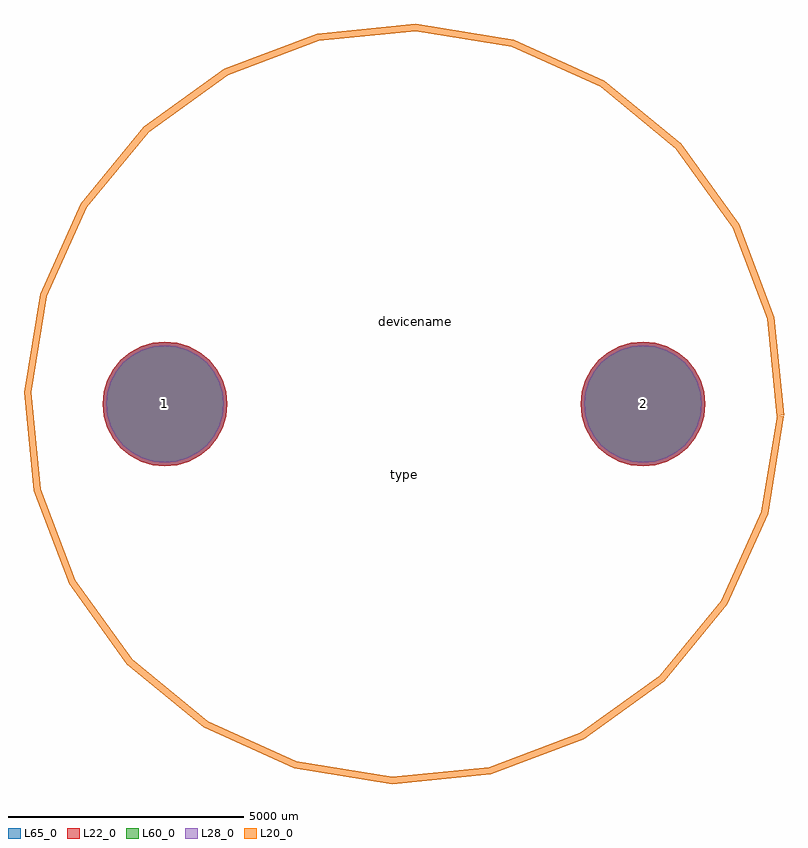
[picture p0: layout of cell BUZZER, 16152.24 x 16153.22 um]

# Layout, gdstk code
import gdstk
lib = gdstk.Library(unit=1e-6, precision=1e-09)
def P(c, l, *ps):  # polygons
    for p in ps: c.add(gdstk.Polygon(p, *l))
L20_0 = (20, 0)
L22_0 = (22, 0)
L28_0 = (28, 0)
L60_0 = (60, 0)
L65_0 = (65, 0)

buzzer = lib.new_cell('BUZZER')
P(buzzer, L22_0, [(-3755.32,0),(-3780.773,258.432),(-3856.155,506.933),(-3978.569,735.953),(-4143.31,936.69),(-4344.047,1101.431),(-4573.067,1223.845),(-4821.568,1299.227),(-5080,1324.68),(-5338.432,1299.227),(-5586.933,1223.845),(-5815.953,1101.431),(-6016.69,936.69),(-6181.431,735.953),(-6303.845,506.933),(-6379.227,258.432),(-6404.68,0),(-6379.227,-258.432),(-6303.845,-506.933),(-6181.431,-735.953),(-6016.69,-936.69),(-5815.953,-1101.431),(-5586.933,-1223.845),(-5338.432,-1299.227),(-5080,-1324.68),(-4821.568,-1299.227),(-4573.067,-1223.845),(-4344.047,-1101.431),(-4143.31,-936.69),(-3978.569,-735.953),(-3856.155,-506.933),(-3780.773,-258.432)],
  [(6404.68,0),(6379.227,258.432),(6303.845,506.933),(6181.431,735.953),(6016.69,936.69),(5815.953,1101.431),(5586.933,1223.845),(5338.432,1299.227),(5080,1324.68),(4821.568,1299.227),(4573.067,1223.845),(4344.047,1101.431),(4143.31,936.69),(3978.569,735.953),(3856.155,506.933),(3780.773,258.432),(3755.32,0),(3780.773,-258.432),(3856.155,-506.933),(3978.569,-735.953),(4143.31,-936.69),(4344.047,-1101.431),(4573.067,-1223.845),(4821.568,-1299.227),(5080,-1324.68),(5338.432,-1299.227),(5586.933,-1223.845),(5815.953,-1101.431),(6016.69,-936.69),(6181.431,-735.953),(6303.845,-506.933),(6379.227,-258.432)])
P(buzzer, L28_0, [(-3830.32,0),(-3854.332,243.8),(-3925.446,478.232),(-4040.929,694.285),(-4196.343,883.657),(-4385.715,1039.071),(-4601.768,1154.554),(-4836.2,1225.668),(-5080,1249.68),(-5323.8,1225.668),(-5558.232,1154.554),(-5774.285,1039.071),(-5963.657,883.657),(-6119.071,694.285),(-6234.554,478.232),(-6305.668,243.8),(-6329.68,0),(-6305.668,-243.8),(-6234.554,-478.232),(-6119.071,-694.285),(-5963.657,-883.657),(-5774.285,-1039.071),(-5558.232,-1154.554),(-5323.8,-1225.668),(-5080,-1249.68),(-4836.2,-1225.668),(-4601.768,-1154.554),(-4385.715,-1039.071),(-4196.343,-883.657),(-4040.929,-694.285),(-3925.446,-478.232),(-3854.332,-243.8)],
  [(6329.68,0),(6305.668,243.8),(6234.554,478.232),(6119.071,694.285),(5963.657,883.657),(5774.285,1039.071),(5558.232,1154.554),(5323.8,1225.668),(5080,1249.68),(4836.2,1225.668),(4601.768,1154.554),(4385.715,1039.071),(4196.343,883.657),(4040.929,694.285),(3925.446,478.232),(3854.332,243.8),(3830.32,0),(3854.332,-243.8),(3925.446,-478.232),(4040.929,-694.285),(4196.343,-883.657),(4385.715,-1039.071),(4601.768,-1154.554),(4836.2,-1225.668),(5080,-1249.68),(5323.8,-1225.668),(5558.232,-1154.554),(5774.285,-1039.071),(5963.657,-883.657),(6119.071,-694.285),(6234.554,-478.232),(6305.668,-243.8)])
P(buzzer, L60_0, [(-3830.32,0),(-3854.332,243.8),(-3925.446,478.232),(-4040.929,694.285),(-4196.343,883.657),(-4385.715,1039.071),(-4601.768,1154.554),(-4836.2,1225.668),(-5080,1249.68),(-5323.8,1225.668),(-5558.232,1154.554),(-5774.285,1039.071),(-5963.657,883.657),(-6119.071,694.285),(-6234.554,478.232),(-6305.668,243.8),(-6329.68,0),(-6305.668,-243.8),(-6234.554,-478.232),(-6119.071,-694.285),(-5963.657,-883.657),(-5774.285,-1039.071),(-5558.232,-1154.554),(-5323.8,-1225.668),(-5080,-1249.68),(-4836.2,-1225.668),(-4601.768,-1154.554),(-4385.715,-1039.071),(-4196.343,-883.657),(-4040.929,-694.285),(-3925.446,-478.232),(-3854.332,-243.8)],
  [(6329.68,0),(6305.668,243.8),(6234.554,478.232),(6119.071,694.285),(5963.657,883.657),(5774.285,1039.071),(5558.232,1154.554),(5323.8,1225.668),(5080,1249.68),(4836.2,1225.668),(4601.768,1154.554),(4385.715,1039.071),(4196.343,883.657),(4040.929,694.285),(3925.446,478.232),(3854.332,243.8),(3830.32,0),(3854.332,-243.8),(3925.446,-478.232),(4040.929,-694.285),(4196.343,-883.657),(4385.715,-1039.071),(4601.768,-1154.554),(4836.2,-1225.668),(5080,-1249.68),(5323.8,-1225.668),(5558.232,-1154.554),(5774.285,-1039.071),(5963.657,-883.657),(6119.071,-694.285),(6234.554,-478.232),(6305.668,-243.8)])
P(buzzer, L65_0, [(-3755.32,0),(-3780.773,258.432),(-3856.155,506.933),(-3978.569,735.953),(-4143.31,936.69),(-4344.047,1101.431),(-4573.067,1223.845),(-4821.568,1299.227),(-5080,1324.68),(-5338.432,1299.227),(-5586.933,1223.845),(-5815.953,1101.431),(-6016.69,936.69),(-6181.431,735.953),(-6303.845,506.933),(-6379.227,258.432),(-6404.68,0),(-6379.227,-258.432),(-6303.845,-506.933),(-6181.431,-735.953),(-6016.69,-936.69),(-5815.953,-1101.431),(-5586.933,-1223.845),(-5338.432,-1299.227),(-5080,-1324.68),(-4821.568,-1299.227),(-4573.067,-1223.845),(-4344.047,-1101.431),(-4143.31,-936.69),(-3978.569,-735.953),(-3856.155,-506.933),(-3780.773,-258.432)],
  [(6404.68,0),(6379.227,258.432),(6303.845,506.933),(6181.431,735.953),(6016.69,936.69),(5815.953,1101.431),(5586.933,1223.845),(5338.432,1299.227),(5080,1324.68),(4821.568,1299.227),(4573.067,1223.845),(4344.047,1101.431),(4143.31,936.69),(3978.569,735.953),(3856.155,506.933),(3780.773,258.432),(3755.32,0),(3780.773,-258.432),(3856.155,-506.933),(3978.569,-735.953),(4143.31,-936.69),(4344.047,-1101.431),(4573.067,-1223.845),(4821.568,-1299.227),(5080,-1324.68),(5338.432,-1299.227),(5586.933,-1223.845),(5815.953,-1101.431),(6016.69,-936.69),(6181.431,-735.953),(6303.845,-506.933),(6379.227,-258.432)])
buzzer.add(gdstk.FlexPath([(8001,-248.92),(7792.798,1830.373),(7053.529,3784.929),(5833.574,5481.548),(4216.071,6804.609),(2311.249,7663.947),(248.92,8001),(-1830.373,7792.798),(-3784.929,7053.529),(-5481.548,5833.574),(-6804.609,4216.071),(-7663.947,2311.249),(-8001,248.92),(-7792.798,-1830.373),(-7053.529,-3784.929),(-5833.574,-5481.548),(-4216.071,-6804.609),(-2311.249,-7663.947),(-248.92,-8001),(1830.373,-7792.798),(3784.929,-7053.529),(5481.548,-5833.574),(6804.609,-4216.071),(7663.947,-2311.249),(8001,-248.92)], 149.998, ends="flush", simple_path=True, layer=20, datatype=0))  # L20_0
buzzer.add(gdstk.Label('1', (-5080,0), layer=28, texttype=0))
buzzer.add(gdstk.Label('2', (5080,0), layer=28, texttype=0))
buzzer.add(gdstk.Label('type', (0,-1501.14), layer=9, texttype=0))
buzzer.add(gdstk.Label('devicename', (248.92,1750.06), layer=9, texttype=0))

lib.write_gds('BUZZER.gds')
